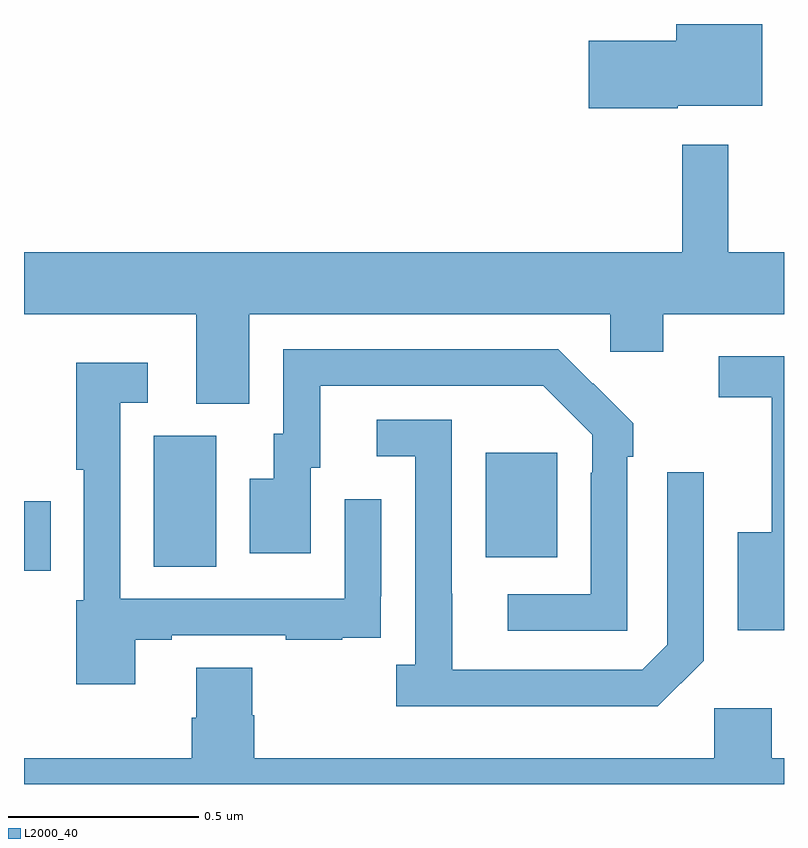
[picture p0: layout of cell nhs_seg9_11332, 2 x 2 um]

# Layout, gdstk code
import gdstk
lib = gdstk.Library(unit=1e-6, precision=1e-09)
def R(c, l, rs):  # rectangles x0, y0, x1, y1
    for r in rs: c.add(gdstk.rectangle(r[:2], r[2:], *l))
def P(c, l, *ps):  # polygons
    for p in ps: c.add(gdstk.Polygon(p, *l))
L2000_40 = (2000, 40)

nhs_seg9_11332 = lib.new_cell('nhs_seg9_11332')
R(nhs_seg9_11332, L2000_40, [(254,1213.061,254.071,1213.244), (254.342,1213.072,254.506,1213.416), (255.215,1213.097,255.403,1213.372)])
P(nhs_seg9_11332, L2000_40, [(255.72,1214.285),(255.943,1214.285),(255.943,1214.5),(255.716,1214.5),(255.716,1214.456),(255.486,1214.456),(255.486,1214.278),(255.72,1214.278)],
  [(256,1213.9),(255.853,1213.9),(255.853,1214.182),(255.732,1214.182),(255.732,1213.9),(254,1213.9),(254,1213.736),(254.453,1213.736),(254.453,1213.501),(254.593,1213.501),(254.593,1213.736),(255.543,1213.736),(255.543,1213.638),(255.682,1213.638),(255.682,1213.736),(256,1213.736)],
  [(255.588,1213.361),(255.603,1213.361),(255.603,1213.449),(255.498,1213.554),(255.497,1213.553),(255.406,1213.644),(254.682,1213.644),(254.682,1213.422),(254.657,1213.422),(254.657,1213.303),(254.594,1213.303),(254.594,1213.107),(254.755,1213.107),(254.755,1213.332),(254.779,1213.332),(254.779,1213.548),(255.367,1213.548),(255.495,1213.419),(255.495,1213.319),(255.492,1213.319),(255.492,1212.999),(255.273,1212.999),(255.273,1212.903),(255.588,1212.903)],
  [(256,1213.626),(255.828,1213.626),(255.828,1213.518),(255.968,1213.518),(255.968,1213.162),(255.878,1213.162),(255.878,1212.905),(256,1212.905)],
  [(254.293,1212.879),(254.389,1212.879),(254.389,1212.891),(254.689,1212.891),(254.689,1212.879),(254.837,1212.879),(254.837,1212.885),(254.939,1212.885),(254.939,1212.994),(254.94,1212.994),(254.94,1213.249),(254.844,1213.249),(254.844,1212.987),(254.253,1212.987),(254.253,1213.503),(254.326,1213.503),(254.326,1213.609),(254.137,1213.609),(254.137,1213.327),(254.157,1213.327),(254.157,1212.984),(254.137,1212.984),(254.137,1212.762),(254.293,1212.762)],
  [(255.789,1212.825),(255.789,1213.321),(255.693,1213.321),(255.693,1212.867),(255.627,1212.801),(255.127,1212.801),(255.127,1213.001),(255.126,1213.001),(255.126,1213.458),(254.928,1213.458),(254.928,1213.362),(255.03,1213.362),(255.03,1212.814),(254.979,1212.814),(254.979,1212.704),(255.668,1212.704)],
  [(256,1212.568),(255.968,1212.568),(255.968,1212.7),(255.816,1212.7),(255.816,1212.568),(254.606,1212.568),(254.606,1212.681),(254.601,1212.681),(254.601,1212.806),(254.453,1212.806),(254.453,1212.674),(254.441,1212.674),(254.441,1212.568),(254,1212.568),(254,1212.5),(256,1212.5)])

lib.write_gds('nhs_seg9_11332.gds')
